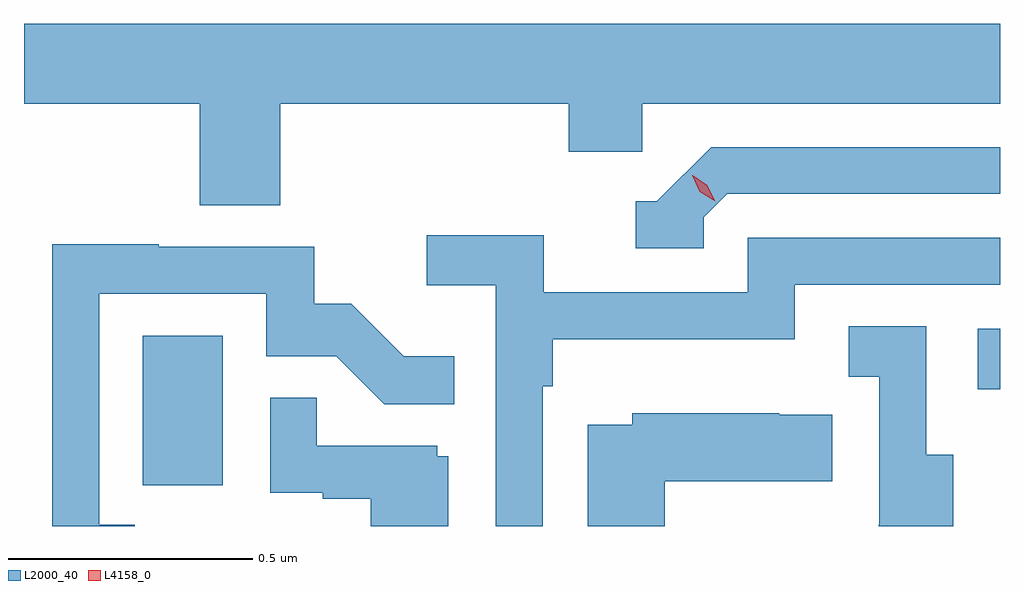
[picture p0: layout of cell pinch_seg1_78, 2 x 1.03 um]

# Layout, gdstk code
import gdstk
lib = gdstk.Library(unit=1e-6, precision=1e-09)
def R(c, l, rs):  # rectangles x0, y0, x1, y1
    for r in rs: c.add(gdstk.rectangle(r[:2], r[2:], *l))
def P(c, l, *ps):  # polygons
    for p in ps: c.add(gdstk.Polygon(p, *l))
L2000_40 = (2000, 40)
L4158_0 = (4158, 0)

pinch_seg1_78 = lib.new_cell('pinch_seg1_78')
R(pinch_seg1_78, L2000_40, [(1032.896,580.254,1033.06,580.561), (1034.607,580.451,1034.653,580.575)])
P(pinch_seg1_78, L2000_40, [(1033.178,581.036),(1033.769,581.036),(1033.769,580.938),(1033.92,580.938),(1033.92,581.036),(1034.653,581.036),(1034.653,581.2),(1032.653,581.2),(1032.653,581.036),(1033.013,581.036),(1033.013,580.828),(1033.178,580.828)],
  [(1034.046,580.803),(1034.094,580.851),(1034.653,580.851),(1034.653,580.947),(1034.061,580.947),(1033.95,580.836),(1033.907,580.836),(1033.907,580.74),(1034.046,580.74)],
  [(1033.716,580.457),(1033.736,580.457),(1033.736,580.553),(1034.232,580.553),(1034.232,580.665),(1034.653,580.665),(1034.653,580.761),(1034.136,580.761),(1034.136,580.65),(1033.718,580.65),(1033.718,580.766),(1033.478,580.766),(1033.478,580.664),(1033.62,580.664),(1033.62,580.17),(1033.716,580.17)],
  [(1032.88,580.173),(1032.807,580.173),(1032.807,580.647),(1033.149,580.647),(1033.149,580.518),(1033.293,580.518),(1033.391,580.42),(1033.535,580.42),(1033.535,580.519),(1033.431,580.519),(1033.324,580.626),(1033.248,580.626),(1033.248,580.743),(1032.929,580.743),(1032.929,580.748),(1032.711,580.748),(1032.711,580.17),(1032.88,580.17)],
  [(1034.557,580.317),(1034.502,580.317),(1034.502,580.58),(1034.343,580.58),(1034.343,580.477),(1034.406,580.477),(1034.406,580.173),(1034.405,580.173),(1034.405,580.17),(1034.557,580.17)],
  [(1033.522,580.314),(1033.5,580.314),(1033.5,580.335),(1033.253,580.335),(1033.253,580.433),(1033.158,580.433),(1033.158,580.239),(1033.265,580.239),(1033.265,580.227),(1033.364,580.227),(1033.364,580.17),(1033.522,580.17)],
  [(1033.966,580.262),(1034.309,580.262),(1034.309,580.399),(1034.201,580.399),(1034.201,580.402),(1033.899,580.402),(1033.899,580.378),(1033.808,580.378),(1033.808,580.17),(1033.966,580.17)])
P(pinch_seg1_78, L4158_0, [(1034.069,580.836),(1034.038,580.856),(1034.022,580.889),(1034.022,580.889),(1034.023,580.889),(1034.053,580.869),(1034.069,580.836),(1034.069,580.836)])

lib.write_gds('pinch_seg1_78.gds')
